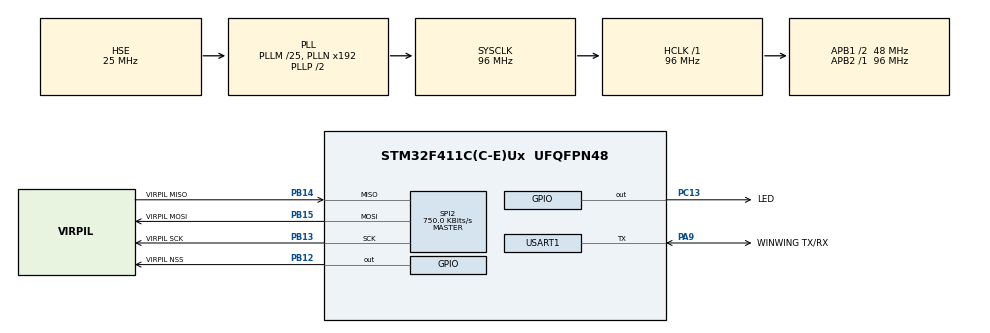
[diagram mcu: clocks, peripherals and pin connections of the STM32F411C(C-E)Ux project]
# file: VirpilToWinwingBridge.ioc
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Mcu.Family=STM32F4
Mcu.Name=STM32F411C(C-E)Ux
Mcu.Package=UFQFPN48
NVIC.PriorityGroup=NVIC_PRIORITYGROUP_4
NVIC.USART1_IRQn=true\:0\:0\:false\:false\:true\:true\:true\:true
PA13.Mode=Trace_Asynchronous_SW
PA13.Signal=SYS_JTMS-SWDIO
PA14.Mode=Trace_Asynchronous_SW
PA14.Signal=SYS_JTCK-SWCLK
PA9.GPIO_Label=WINWING TX/RX
PA9.GPIO_PuPd=GPIO_PULLUP
PA9.Mode=Half_duplex(single_wire_mode)
PA9.Signal=USART1_TX
PB12.GPIO_Label=VIRPIL NSS
PB12.GPIO_Speed=GPIO_SPEED_FREQ_VERY_HIGH
PB12.PinState=GPIO_PIN_SET
PB12.Signal=GPIO_Output
PB13.GPIO_Label=VIRPIL SCK
PB13.GPIO_PuPd=GPIO_NOPULL
PB13.GPIO_Speed=GPIO_SPEED_FREQ_VERY_HIGH
PB13.Mode=Full_Duplex_Master
PB13.Signal=SPI2_SCK
PB14.GPIO_Label=VIRPIL MISO
PB14.Mode=Full_Duplex_Master
PB14.Signal=SPI2_MISO
PB15.GPIO_Label=VIRPIL MOSI
PB15.Mode=Full_Duplex_Master
PB15.Signal=SPI2_MOSI
PB3.Mode=Trace_Asynchronous_SW
PB3.Signal=SYS_JTDO-SWO
PC13-ANTI_TAMP.GPIO_Label=LED
PC13-ANTI_TAMP.Signal=GPIO_Output
PH0\ -\ OSC_IN.Mode=HSE-External-Oscillator
PH0\ -\ OSC_IN.Signal=RCC_OSC_IN
PH1\ -\ OSC_OUT.Mode=HSE-External-Oscillator
PH1\ -\ OSC_OUT.Signal=RCC_OSC_OUT
ProjectManager.HeapSize=0x200
ProjectManager.StackSize=0x400
ProjectManager.TargetToolchain=STM32CubeIDE
RCC.48MHZClocksFreq_Value=48000000
RCC.AHBFreq_Value=96000000
RCC.APB1CLKDivider=RCC_HCLK_DIV2
RCC.APB1Freq_Value=48000000
RCC.APB1TimFreq_Value=96000000
RCC.APB2Freq_Value=96000000
RCC.APB2TimFreq_Value=96000000
RCC.CortexFreq_Value=96000000
RCC.HCLKFreq_Value=96000000
RCC.HSE_VALUE=25000000
RCC.HSI_VALUE=16000000
RCC.LSE_VALUE=32768
RCC.PLLM=25
RCC.PLLSourceVirtual=RCC_PLLSOURCE_HSE
RCC.SYSCLKFreq_VALUE=96000000
RCC.SYSCLKSource=RCC_SYSCLKSOURCE_PLLCLK
RCC.VCOOutputFreq_Value=192000000
SPI2.BaudRatePrescaler=SPI_BAUDRATEPRESCALER_64
SPI2.CLKPhase=SPI_PHASE_1EDGE
SPI2.CalculateBaudRate=750.0 KBits/s
SPI2.Direction=SPI_DIRECTION_2LINES
SPI2.Mode=SPI_MODE_MASTER
SPI2.VirtualType=VM_MASTER
TIM1.Period=65535
TIM1.Prescaler=96-1
USART1.BaudRate=230400
USART1.VirtualMode=VM_ASYNC
VP_TIM1_VS_ClockSourceINT.Mode=Internal
board=custom

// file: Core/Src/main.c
/* USER CODE BEGIN Header */
/**
 ******************************************************************************
 * @file           : main.c
 * @brief          : Main program body
 ******************************************************************************
 * @attention
 *
 * Copyright (c) 2025 STMicroelectronics.
 * All rights reserved.
 *
 * This software is licensed under terms that can be found in the LICENSE file
 * in the root directory of this software component.
 * If no LICENSE file comes with this software, it is provided AS-IS.
 *
 ******************************************************************************
 */
/* USER CODE END Header */
#include "main.h"

/* USER CODE BEGIN Includes */
#include <stdio.h>
#include <string.h>
/* USER CODE END Includes */

/* USER CODE BEGIN PTD */
typedef enum
{
	HAT_IDX_UP = 0,
	HAT_IDX_UR = 1,
	HAT_IDX_R = 2,
	HAT_IDX_DR = 3,
	HAT_IDX_D = 4,
	HAT_IDX_DL = 5,
	HAT_IDX_L = 6,
	HAT_IDX_UL = 7
} HatIndex;

/* USER CODE END PTD */

/* USER CODE BEGIN PD */
#define WINWING_MAX_PACKET_SIZE  8
#define VIRPIL_PACKET_SIZE	14
#define VIRPIL_TIMEOUT_MS 1000
#define CALIBRATION_CHECK_INTERVAL 500 //ms
#define DIAL_HANDLE_INTERVAL_MS 10 //ms
#define MIN_CALIBRATION_DURATION 5000 //ms
/* USER CODE END PD */

SPI_HandleTypeDef hspi2;

TIM_HandleTypeDef htim1;

UART_HandleTypeDef huart1;

/* USER CODE BEGIN PV */

// Calibration data structure
typedef struct {
    uint16_t MinThumbStickX;
    uint16_t MaxThumbStickX;
    uint16_t MinThumbStickY;
    uint16_t MaxThumbStickY;
    uint16_t MinTwistZ;
    uint16_t MaxTwistZ;
    uint16_t MinSlider;
    uint16_t MaxSlider;
    uint16_t SliderDetent1;
    uint16_t SliderDetent2;
    uint32_t crc32; // For data integrity
} CalibrationData;

// Flash storage address (last 16KB sector for STM32F411, 0x08060000)
#define CALIBRATION_FLASH_ADDR ((uint32_t)0x08060000)

CalibrationData calibData = {
    .MinThumbStickX = 10,
    .MaxThumbStickX = 4086,
    .MinThumbStickY = 10,
    .MaxThumbStickY = 4086,
    .MinTwistZ = 10,
    .MaxTwistZ = 4086,
    .MinSlider = 16,
    .MaxSlider = 4086,
	.SliderDetent1 = 1250,
	.SliderDetent2 = 3400,
    .crc32 = 0
};

uint16_t CurrThumbStickX = 2048,
        CurrThumbStickY = 2048,
        CurrTwistZ = 2048,
        CurrSlider = 2086;

//        PrevSlider = 0, PrevTwistZ = 0, PrevThumbStickX = 0, PrevThumbStickY = 0;

uint8_t PrevDialBits = 0;
uint8_t RedDown = 0;
uint8_t BlackDown = 0;
uint8_t DialDown = 0;
uint32_t lastBlink = 0;
uint32_t lastCheck = 0;
uint32_t blinkDelay = 0;
uint32_t DialHandleTime = 0;
uint8_t DialHandleTicks = 0;

typedef struct
{
	uint8_t ReqSize;
	uint8_t RespSize;
	uint8_t Data[WINWING_MAX_PACKET_SIZE];
} tCache;

uint8_t BS_Hat = 0, BS_Center = 0, BS_Side = 0, BS_Thumb = 0;

typedef struct
{
	const char *Name;
	uint8_t VP_Byte;
	uint8_t VP_Bit;
	uint8_t WW_Byte;
	uint8_t WW_Mask;
	uint8_t WW_Push;
	uint8_t *pBS;
	uint8_t *pButton;
} tButtonMap;

uint8_t VP_Buffer[VIRPIL_PACKET_SIZE] =
{ 0xFF };
uint8_t WW_Request[WINWING_MAX_PACKET_SIZE] =
{ 0 };
volatile uint16_t WWRequestLen = 0;

#define SERIAL_NO_1 0x7f
#define SERIAL_NO_2 0xdb
#define SERIAL_NO_3 0x0c
#define SERIAL_NO_4 0x26

#define WW_A0_INDEX 20
#define WW_THUMBX_INDEX 22
#define WW_THUMBY_INDEX 23
#define WW_ZAXIS_INDEX 24
#define WW_SLIDER_INDEX 25

tCache WW_Cache[] =
		{
// Ping pong?
				{ 1, 1,
				{ 0x00 } },

				// Serial and verisons
				{ 1, 5,
				{ 0x01, 0x0D, 0x01, 0x30, 0x51 } }, //HW ver in hex, sw ver in dec??
				{ 1, 5,
				{ 0x02, 0x07, 0xBE, 0x14, 0x01 } }, //SW ver in hex,
				{ 1, 7,
				{ 0x03, SERIAL_NO_4, SERIAL_NO_3, SERIAL_NO_2, SERIAL_NO_1,
						0x12, 0x30 } }, //serial parts

				{ 4, 8,
				{ 0x05, 0x00, 0x10, 0x01, 0x55, 0x55, 0x55, 0x55 } }, //EXTension enable?
				{ 4, 8,
				{ 0x05, 0x04, 0x00, 0x00, 0x01, 0x00, 0x00, 0x00 } }, //??
				{ 4, 8,
				{ 0x05, 0x91, 0x01, 0x01, 0x01, 0x00, 0x00, 0x00 } }, //ADD_ONFunction testUnqualified - triggers firmware update! when changed
				{ 4, 8,
				{ 0x05, 0x98, 0x01, 0x01, 0x01, 0x00, 0x00, 0x00 } }, //ADD_ONOnboard testUnqualified
				{ 4, 8,
				{ 0x05, 0x9c, 0x00, 0x00, SERIAL_NO_1, SERIAL_NO_2, SERIAL_NO_3,
				SERIAL_NO_4 } }, //serial part 1
				{ 4, 8,
				{ 0x05, 0xa0, 0x00, 0x00, 0x4E, 0x62, 0x30, 0x12 } }, //serial part 2
				{ 4, 8,
				{ 0x05, 0xa4, 0x00, 0x00, 0x4b, 0x64, 0x06, 0x25 } }, //serial part 3
				{ 4, 8,
				{ 0x05, 0xac, 0x01, 0x01, 0x01, 0x00, 0x00, 0x00 } },
				{ 4, 8,
				{ 0x05, 0xf0, 0x00, 0x01, 0xff, 0xff, 0xff, 0xff } },

//0x05 0xF8 0x00 0x01 //modify trigger pos??
//0x06 0xF8 0x00 0x01 //modify trigger pos??
//0x49 0x00 0x00-0xFF //Vibration intensity

				{ 4, 8,
				{ 0x05, 0x91, 0x01, 0x00, 0xFF, 0x01, 0xFF, 0xFF } },
				{ 4, 8,
				{ 0x05, 0xAC, 0x01, 0x00, 0x01, 0x00, 0x00, 0x00 } },
				{ 4, 8,
				{ 0x05, 0xA8, 0x01, 0x00, 0x00, 0x00, 0x00, 0x11 } },
				{ 4, 8,
				{ 0x05, 0xB8, 0x00, 0x00, 0xA3, 0x07, 0x00, 0x00 } },
				{ 4, 8,
				{ 0x05, 0x98, 0x01, 0x00, 0x01, 0x00, 0x00, 0x00 } },

				// No idea what these are
				{ 1, 0,
				{ 0xB0 } },
				{ 1, 2,
				{ 0x18, 0x00 } },

				// Digital buttons
				{ 1, 8,
				{ 0xA0, 0x00, 0x00, 0x00, 0x00, 0x00, 0x00, 0x00 } },
				{ 1, 8,
				{ 0xA1, 0x00, 0x00, 0x00, 0x00, 0x00, 0x00, 0x00 } },

				// Analog axes
				{ 2, 6,
				{ 0x46, 0x03, 0x00, 0x08, 0xFF, 0x0F } }, // thumb x
				{ 2, 6,
				{ 0x46, 0x04, 0x00, 0x08, 0xFF, 0x0F } }, // thumb y
				{ 2, 6,
				{ 0x46, 0x05, 0x00, 0x00, 0xFF, 0x0F } }, // z-axis
				{ 2, 6,
				{ 0x46, 0x06, 0x00, 0x00, 0xFF, 0x0F } }, // slider

				// Analog raw ???
				{ 2, 8,
				{ 0x45, 0x03, 0x7c, 0x08, 0x00, 0x00, 0x00, 0x00 } },
				{ 2, 8,
				{ 0x45, 0x04, 0xd2, 0x07, 0x00, 0x00, 0x00, 0x00 } },
				{ 2, 8,
				{ 0x45, 0x05, 0xbc, 0xaf, 0x01, 0x00, 0x00, 0x00 } },
				{ 2, 8,
				{ 0x45, 0x06, 0x86, 0x0e, 0x00, 0x00, 0x00, 0x00 } }, };

size_t cache_count = sizeof(WW_Cache) / sizeof(tCache);

/* USER CODE END PV */

void SystemClock_Config(void);
static void MX_GPIO_Init(void);
static void MX_SPI2_Init(void);
static void MX_USART1_UART_Init(void);
static void MX_TIM1_Init(void);

/* USER CODE BEGIN 0 */
void delay_us(uint16_t us)
{
	__HAL_TIM_SET_COUNTER(&htim1, 0);  // set the counter value a 0
	while (__HAL_TIM_GET_COUNTER(&htim1) < us)
		;  // wait for the counter to reach the us input in the parameter
}

int _write(int file, char *ptr, int len)
{
#ifdef DEBUG
	int DataIdx;
	for (DataIdx = 0; DataIdx < len; DataIdx++)
		ITM_SendChar(*ptr++);
#endif //DEBUG
	return len;
}

static inline void printHexFrame(const char *prefix, const uint8_t *b, size_t n)
{
	printf("%s", prefix);
	for (size_t i = 0; i < n; i++)
	{
		printf(" 0x%02X", b[i]);
	}
	printf("\n");
}

static inline void printBinByte(const uint8_t *b, size_t n)
{
	printf(" ");
	for (size_t i = 0; i < n; i++)
	{
		for (int j = 7; j >= 0; j--)
		{
			printf("%d", (b[i] >> j) & 0x01);
		}
	}
}
//#define DEBUG_VIRPIL

#ifdef DEBUG_VIRPIL
#ifdef DEBUG
uint8_t prev_VP_Button_Buffer[14] = {0};
//uint8_t virpil_byte = 0xff;
#endif //DEBUG
#endif //DEBUG_VIRPIL

uint32_t LastInvalidVirpilFrameTime = 0;

static uint8_t readVirpilDataSync()
{
	uint8_t ret = 1;
	static const uint8_t DUMMY = 0xFF;
	HAL_GPIO_WritePin(VIRPIL_NSS_GPIO_Port, VIRPIL_NSS_Pin, GPIO_PIN_RESET);
	delay_us(10);
//	ret = HAL_SPI_Receive(&hspi2, VP_Buffer, VIRPIL_PACKET_SIZE, 100);
	for (uint16_t i = 0; i < VIRPIL_PACKET_SIZE; i++)
	{
		HAL_SPI_TransmitReceive(&hspi2, (uint8_t*) &DUMMY, &VP_Buffer[i], 1, 2);
		delay_us(10);
	}
	delay_us(10);
	HAL_GPIO_WritePin(VIRPIL_NSS_GPIO_Port, VIRPIL_NSS_Pin, GPIO_PIN_SET);

	if (VP_Buffer[0] == 0 || VP_Buffer[1] == 0 || VP_Buffer[2] == 0 || VP_Buffer[3] == 0 || VP_Buffer[13] != 0)
	{
		if (LastInvalidVirpilFrameTime == 0)
		{
			printf("Invalid Virpil frame received, pause processing.\n");
			printHexFrame("[VIRPIL INVALID]", VP_Buffer, VIRPIL_PACKET_SIZE);
		}
		LastInvalidVirpilFrameTime = HAL_GetTick();
		blinkDelay = 50;
		ret = 0;
	}
	else if (LastInvalidVirpilFrameTime != 0)
	{
		if (HAL_GetTick() - LastInvalidVirpilFrameTime > VIRPIL_TIMEOUT_MS)
		{
			printf("Valid Virpil frame received, resuming.\n");
			LastInvalidVirpilFrameTime = 0;
			blinkDelay = 0;
			HAL_GPIO_WritePin(LED_GPIO_Port, LED_Pin, SET);
		}
		else
			ret = 0;
	}

	//printHexFrame("[VIRPIL]", VP_Buffer, VIRPIL_PACKET_SIZE);
#ifdef DEBUG_VIRPIL
#ifdef DEBUG
	if (memcmp(prev_VP_Button_Buffer, VP_Buffer, sizeof(prev_VP_Button_Buffer)) != 0)
	{
		memcpy(prev_VP_Button_Buffer, VP_Buffer, sizeof(prev_VP_Button_Buffer));
		printHexFrame("[VIRPIL BB]", prev_VP_Button_Buffer, sizeof(prev_VP_Button_Buffer));
//		printf("[VIRPIL Slider] 0x%02X 0x%02X" , VP_Buffer[5], VP_Buffer[4]);
//		printBinByte(&VP_Buffer[5], 1);
//		printBinByte(&VP_Buffer[4], 1);
//		printf("\n");
		//if (virpil_byte != VP_Buffer[3])
		//{
		//	virpil_byte = VP_Buffer[3];
		//	printf("VP3=0x%02X\n", virpil_byte);
		//}
	}
#endif //DEBUG
#endif //DEBUG_VIRPIL
	return ret;
}

tButtonMap ButtonMap[] =
{
{ "Trigger Second Detent", 0, 3, 3, 0x10 },
{ "Trigger First Detent", 0, 2, 3, 0x08 },
{ "Trigger Guard Active", 0, 1, 3, 0x01 },

{ "Black Button Press", 0, 5, 7, 0x08, 0, 0, &BlackDown },
{ "Red Button Press", 1, 3, 5, 0x08, 0, 0, &RedDown },
{ "Pinky Button Press", 3, 5, 3, 0x20 },

//	{"Hat Up"   , 1, 5, 1, 0x00, 0, 0},
//	{"Hat Right", 1, 6, 1, 0x02, 0, 0},
//	{"Hat Down" , 1, 7, 1, 0x04, 0, 0},
//	{"Hat Left" , 2, 0, 1, 0x06, 0, 0},
		{ "Hat Press", 1, 4, 5, 0x04, 1, &BS_Hat },

		{ "Thumbstick Press", 0, 4, 6, 0x02 },

		{ "Dial Press", 2, 4, 5, 0x10, 0, 0, &DialDown },

		{ "Center Up", 0, 7, 6, 0x80, 0, &BS_Center },
		{ "Center Down", 1, 1, 7, 0x02, 0, &BS_Center },
		{ "Center Left", 1, 2, 7, 0x04, 0, &BS_Center },
		{ "Center Right", 1, 0, 7, 0x01, 0, &BS_Center },
		{ "Center Press", 0, 6, 6, 0x40, 1, &BS_Center },

		{ "Thumb Fwd", 3, 1, 4, 0x10, 0, &BS_Thumb },
		{ "Thumb Back", 3, 3, 4, 0x04, 0, &BS_Thumb },
		{ "Thumb Left", 3, 4, 4, 0x02, 0, &BS_Thumb },
		{ "Thumb Right", 3, 2, 4, 0x08, 0, &BS_Thumb },
		{ "Thumb Press", 3, 0, 4, 0x01, 1, &BS_Thumb },

		{ "Side Fwd", 2, 2, 4, 0x40, 0, &BS_Side },
		{ "Side Back", 2, 3, 5, 0x01, 0, &BS_Side },
		{ "Side Press", 2, 1, 4, 0x20, 1, &BS_Side } };

size_t ButtonCount = sizeof(ButtonMap) / sizeof(tButtonMap);

#define VP_ISSET(a,b) ((VP_Buffer[a] >> b) & 0x01) == 0
#define WW_SET(a,b) WW_Cache[WW_A0_INDEX].Data[a] |= b
#define WW_RESET(a,b) WW_Cache[WW_A0_INDEX].Data[a] &= ~b

uint32_t CalibrationEnterTime = 0;
uint8_t CalibrationJustEntered = 0;
uint8_t CalibrationActive = 0;

static inline uint8_t ww_hat_code_from_index(int idx)
{
	if (idx < 0)
		return 0x0F;               // neutral
	// high nibble: one (or two) cardinal bits based on idx
	uint8_t hi = 0;
	if (idx == 0 || idx == 1 || idx == 7)
		hi |= 0x10; // Up
	if (idx == 1 || idx == 2 || idx == 3)
		hi |= 0x20; // Right
	if (idx == 3 || idx == 4 || idx == 5)
		hi |= 0x40; // Down
	if (idx == 5 || idx == 6 || idx == 7)
		hi |= 0x80; // Left
	return (uint8_t) (hi | (idx & 0x0F));
}

static inline uint8_t ww_hat_code_from_bools(int up, int right, int down,
		int left)
{
	// cancel opposites (if both pressed, treat as neither)
	int v = (up && !down) ? 1 : (down && !up) ? -1 : 0;
	int h = (right && !left) ? 1 : (left && !right) ? -1 : 0;

	int idx = -1; // neutral by default
	if (v == 0 && h == 0)
		idx = -1;
	else if (v > 0 && h == 0)
		idx = HAT_IDX_UP;
	else if (v > 0 && h > 0)
		idx = HAT_IDX_UR;
	else if (v == 0 && h > 0)
		idx = HAT_IDX_R;
	else if (v < 0 && h > 0)
		idx = HAT_IDX_DR;
	else if (v < 0 && h == 0)
		idx = HAT_IDX_D;
	else if (v < 0 && h < 0)
		idx = HAT_IDX_DL;
	else if (v == 0 && h < 0)
		idx = HAT_IDX_L;
	else if (v > 0 && h < 0)
		idx = HAT_IDX_UL;

	return ww_hat_code_from_index(idx);
}

static inline void ww_write_hat(uint8_t code)
{
	WW_Cache[WW_A0_INDEX].Data[1] = code;   // POV code
	WW_Cache[WW_A0_INDEX].Data[2] = 0x00;   // per your captures
	WW_Cache[WW_A0_INDEX].Data[3] = 0x42;   // constant in your captures
}

static inline uint16_t map_vp_to_ww(uint16_t cur, uint16_t minv, uint16_t maxv)
{
	if (minv == maxv)
		return 0;                 // avoid /0; treat as 0
	if (minv > maxv)
	{
		uint16_t t = minv;
		minv = maxv;
		maxv = t;
	} // handle reversed cal

	// clamp
	if (cur <= minv)
		return 0;
	if (cur >= maxv)
		return 0x0FFF;

	// round-to-nearest: ((cur-min)/(span)) * 4095
	const uint32_t span = (uint32_t) maxv - (uint32_t) minv;
	const uint32_t num = ((uint32_t) cur - (uint32_t) minv) * 0x0FFFu
			+ (span >> 1);
	return (uint16_t) (num / span);
}

int8_t DialDirection = 0;
static const int8_t DialDirections[16] =
{
/* prev<<2 | curr: 00,01,10,11 */
/* 00-> */0, +1, -1, 0,
/* 01-> */-1, 0, 0, +1,
/* 10-> */+1, 0, 0, -1,
/* 11-> */0, -1, +1, 0 };

void updateWWCache(void)
{
	// 2) Reset group counters each frame
	BS_Hat = BS_Center = BS_Side = BS_Thumb = 0;

	//process Hat first. hat is different from buttons

	int vp_up = VP_ISSET(1, 5);
	int vp_down = VP_ISSET(1, 7);
	int vp_left = VP_ISSET(2, 0);
	int vp_right = VP_ISSET(1, 6);

	uint8_t hatCode = ww_hat_code_from_bools(vp_up, vp_right, vp_down, vp_left);
	ww_write_hat(hatCode);

	if (vp_up || vp_down || vp_left || vp_right)
		BS_Hat = 1;

	// 3) First pass: compute group occupancy (boolean)
	for (size_t i = 0; i < ButtonCount; i++)
	{
		tButtonMap *m = &ButtonMap[i];
		if (m->pButton)
			*(m->pButton) = 0;
		if (!m->pBS)
			continue;
		if (m->WW_Push)
			continue;                 // only non-push members contribute
		if (VP_ISSET(m->VP_Byte, m->VP_Bit))
		{
			*m->pBS = 1;                   // boolean “someone in group is held”
		}
	}

	// 4) Second pass: write WW cache
	for (size_t i = 0; i < ButtonCount; i++)
	{
		tButtonMap *m = &ButtonMap[i];
		const uint8_t mask = m->WW_Mask;

		if (!m->WW_Push)
		{
			if (VP_ISSET(m->VP_Byte, m->VP_Bit))
			{
				WW_SET(m->WW_Byte, mask);
				if (m->pButton)
					*(m->pButton) = 1;
			}
			else
			{
				WW_RESET(m->WW_Byte, mask);
			}
		}
		else
		{
			// Push in same group is falsely reported as pressed by Virpil when any dir is held.
			// Suppress push if any other in group is down.
			if (VP_ISSET(m->VP_Byte, m->VP_Bit) && m->pBS && *m->pBS == 0)
			{
				WW_SET(m->WW_Byte, mask);
				if (m->pButton)
					*(m->pButton) = 1;
			}
			else
			{
				WW_RESET(m->WW_Byte, mask);
			}
		}
	}

	WW_RESET(3, 0x02); //get rid of z-axis detetn buttons

	uint8_t CurrDialBits = (VP_Buffer[2] >> 6) & 0x03;
	int8_t dir = DialDirections[(PrevDialBits << 2) | CurrDialBits];
	PrevDialBits = CurrDialBits;

	DialDirection += dir;

	//analog axes
	//sometimes MSB byte get corrupted and is copied from previous byte. in cese both are equal, juıst skip updating that axis

	//if (VP_Buffer[8] != VP_Buffer[7] && VP_Buffer[6] != VP_Buffer[5])
		CurrSlider = VP_Buffer[6] + ((VP_Buffer[8] & 0x3F) << 8);
	//if (VP_Buffer[5] != VP_Buffer[4] && VP_Buffer[4] != VP_Buffer[3])
		CurrTwistZ = VP_Buffer[4] + ((VP_Buffer[5] & 0x3F) << 8);
	//if (VP_Buffer[12] != VP_Buffer[11]) {
		CurrThumbStickX = ((uint16_t) (((VP_Buffer[12] >> 2) & 0x03) << 8) | VP_Buffer[11]);
		CurrThumbStickY = ((uint16_t) ((VP_Buffer[12] & 0x03) << 8) | VP_Buffer[10]);
	//}

//#ifdef DEBUG
//#define LARGE_DIFF(a,b) ((((a)>(b))?((a)-(b)):((b)-(a)))>5)
//	if (LARGE_DIFF(CurrSlider,PrevSlider) || LARGE_DIFF(CurrTwistZ, PrevTwistZ) || LARGE_DIFF(CurrThumbStickX, PrevThumbStickX) || LARGE_DIFF(CurrThumbStickY, PrevThumbStickY))
//	{
//		printf("Slider=%d (0x%02X 0x%02X) - TwistZ=%d (0x%02X 0x%02X) - ThumbX=%d (0x%02X 0x%02X) - ThumbY=%d (0x%02X 0x%02X) ",
//				CurrSlider, VP_Buffer[8], VP_Buffer[6],
//				CurrTwistZ, VP_Buffer[5], VP_Buffer[4],
//				CurrThumbStickX, VP_Buffer[12], VP_Buffer[11],
//				CurrThumbStickY, VP_Buffer[12], VP_Buffer[10]
//				);
//		printHexFrame("[RAW] ", VP_Buffer, sizeof(VP_Buffer));
//	}
//	PrevSlider = CurrSlider;
//	PrevTwistZ = CurrTwistZ;
//	PrevThumbStickX = CurrThumbStickX;
//	PrevThumbStickY = CurrThumbStickY;
//#endif //DEBUG

#define SET_MIN_MAX(a,b,c,d) if (b > calibData.c) {calibData.c = b; printf("%s max = %d\n", a, b);} else if (b < calibData.d) {calibData.d = b; printf("%s min = %d\n", a, b);}

	if (CalibrationActive)
	{
		SET_MIN_MAX("Slider", CurrSlider, MaxSlider, MinSlider);
		SET_MIN_MAX("TwistZ", CurrTwistZ, MaxTwistZ, MinTwistZ);
		SET_MIN_MAX("ThumbStickX", CurrThumbStickX, MaxThumbStickX, MinThumbStickX);
		SET_MIN_MAX("ThumbStickY", CurrThumbStickY, MaxThumbStickY, MinThumbStickY);
		if (RedDown)
			calibData.SliderDetent1 = CurrSlider;
		if (BlackDown)
			calibData.SliderDetent2 = CurrSlider;
	}
	else
	{

#define WW_WRITE_AXIS(a,b,c) WW_Cache[a].Data[b] = c & 0xff; WW_Cache[a].Data[b+1] = (c >> 8) & 0xff

		uint16_t val = 4096 - map_vp_to_ww(CurrSlider, calibData.MinSlider, calibData.MaxSlider);
		WW_WRITE_AXIS(WW_SLIDER_INDEX, 2, val);
		WW_WRITE_AXIS(WW_SLIDER_INDEX+4, 2, CurrSlider);

		WW_RESET(3, 0xC0);
		if (val > 3400) //trigger secont pinky detent
			WW_SET(3, 0xC0);
		else if (val > 1250)
			WW_SET(3, 0x40);

		val = 4096 - map_vp_to_ww(CurrTwistZ, calibData.MinTwistZ, calibData.MaxTwistZ);
		WW_WRITE_AXIS(WW_ZAXIS_INDEX, 2, val);
		WW_WRITE_AXIS(WW_ZAXIS_INDEX+4, 2, CurrTwistZ);

		val = 4096 - map_vp_to_ww(CurrThumbStickX, calibData.MinThumbStickX, calibData.MaxThumbStickX);
		WW_WRITE_AXIS(WW_THUMBX_INDEX, 2, val);
		WW_WRITE_AXIS(WW_THUMBX_INDEX+4, 2, CurrThumbStickX);

		val = 4096 - map_vp_to_ww(CurrThumbStickY, calibData.MinThumbStickY, calibData.MaxThumbStickY);
		WW_WRITE_AXIS(WW_THUMBY_INDEX, 2, val);
		WW_WRITE_AXIS(WW_THUMBY_INDEX+4, 2, CurrThumbStickY);
	}

}

void writeWinwingDataSync(const uint8_t *data, uint16_t size)
{
	//printHexFrame("[TO WW]", data, size);
	// Enable TX (Half-Duplex Mode)
	HAL_HalfDuplex_EnableTransmitter(&huart1);
	// Send The Data You Want!
	HAL_UART_Transmit(&huart1, data, size, 100);
	// Switch Back To RX (Receiver Mode)
	HAL_HalfDuplex_EnableReceiver(&huart1);
}

static void HandleDial()
{
	//handle dial action here
	if (HAL_GetTick() - DialHandleTime < DIAL_HANDLE_INTERVAL_MS)
		return;
	DialHandleTime = HAL_GetTick();
	WW_RESET(5, 0xA0);
	if (DialHandleTicks % 2)
	{
		if (DialDirection > 0)
		{
			WW_SET(5, 0x20);
			DialDirection--;
			printf("UP %d\n", DialDirection);
		}
		else if (DialDirection < 0)
		{
			WW_SET(5, 0x80);
			DialDirection++;
			printf("DOWN %d\n", DialDirection);
		}
	}
	DialHandleTicks++;
}

static void WW_HandleData()
{
	tCache *pCache;
	for (int i = 0; i < cache_count; i++)
	{
		pCache = &WW_Cache[i];
		if (WWRequestLen == pCache->ReqSize && pCache->RespSize > 0
				&& memcmp(WW_Request, pCache->Data, pCache->ReqSize) == 0)
		{
			//printHexFrame("[FROM WW]", WW_Request, WWRequestLen);
			writeWinwingDataSync(pCache->Data, pCache->RespSize);
			return;
		}
	}
	printHexFrame("[FROM WW - UNHANDLED]", WW_Request, WWRequestLen);
	writeWinwingDataSync(WW_Request, WWRequestLen);
}

// Helper: Calculate CRC32 (simple implementation, replace with HAL if available)
uint32_t crc32_calc(const uint8_t *data, size_t len) {
    uint32_t crc = 0xFFFFFFFF;
    for (size_t i = 0; i < len; i++) {
        crc ^= data[i];
        for (uint8_t j = 0; j < 8; j++) {
            if (crc & 1)
                crc = (crc >> 1) ^ 0xEDB88320;
            else
                crc >>= 1;
        }
    }
    return ~crc;
}

// Save calibration data to flash
void SaveCalibrationToFlash(void) {
    HAL_FLASH_Unlock();
    // Erase sector
    FLASH_EraseInitTypeDef eraseInitStruct = {0};
    uint32_t sectorError = 0;
    eraseInitStruct.TypeErase = FLASH_TYPEERASE_SECTORS;
    eraseInitStruct.Sector = FLASH_SECTOR_7;
    eraseInitStruct.NbSectors = 1;
    eraseInitStruct.VoltageRange = FLASH_VOLTAGE_RANGE_3;
    HAL_FLASHEx_Erase(&eraseInitStruct, &sectorError);
    // Calculate CRC
    calibData.crc32 = crc32_calc((uint8_t*)&calibData, sizeof(CalibrationData) - sizeof(uint32_t));
    // Program data
    uint32_t *src = (uint32_t*)&calibData;
    uint32_t addr = CALIBRATION_FLASH_ADDR;
    for (size_t i = 0; i < sizeof(CalibrationData)/4; i++) {
        HAL_FLASH_Program(FLASH_TYPEPROGRAM_WORD, addr, src[i]);
        addr += 4;
    }
    HAL_FLASH_Lock();
}

// Load calibration data from flash
void LoadCalibrationFromFlash(void) {
    CalibrationData *flashData = (CalibrationData*)CALIBRATION_FLASH_ADDR;
    uint32_t crc = crc32_calc((uint8_t*)flashData, sizeof(CalibrationData) - sizeof(uint32_t));
    if (flashData->crc32 == crc) {
        calibData = *flashData;
    }
    // else keep defaults
}
/* USER CODE END 0 */

int main(void)
{

  /* USER CODE BEGIN 1 */
	setvbuf(stdout, NULL, _IONBF, 0);
  /* USER CODE END 1 */

  /* MCU Configuration--------------------------------------------------------*/

  /* Reset of all peripherals, Initializes the Flash interface and the Systick. */
  HAL_Init();

  /* Configure the system clock */
  SystemClock_Config();

  /* USER CODE BEGIN SysInit */
	LoadCalibrationFromFlash();
  /* USER CODE END SysInit */

  /* Initialize all configured peripherals */
  MX_GPIO_Init();
  MX_SPI2_Init();
  MX_USART1_UART_Init();
  MX_TIM1_Init();
  /* USER CODE BEGIN 2 */
	HAL_TIM_Base_Start(&htim1);
  /* USER CODE END 2 */

  /* Infinite loop */
  /* USER CODE BEGIN WHILE */

	HAL_HalfDuplex_EnableReceiver(&huart1);
	HAL_UARTEx_ReceiveToIdle_IT(&huart1, WW_Request, WINWING_MAX_PACKET_SIZE);
	HAL_GPIO_WritePin(LED_GPIO_Port, LED_Pin, SET);
	printf("Virpil Grip to WinWing Base Bridge\n");

	while (1)
	{
		uint32_t now = HAL_GetTick();
		uint8_t virpilOK = readVirpilDataSync();

    /* USER CODE END WHILE */

    /* USER CODE BEGIN 3 */
		if (blinkDelay && (now - lastBlink > blinkDelay))
		{
			lastBlink = now;
			HAL_GPIO_TogglePin(LED_GPIO_Port, LED_Pin);
		}

		if (virpilOK && (now - lastCheck >= CALIBRATION_CHECK_INTERVAL))
		{
			lastCheck = now;
			if (CalibrationActive)
			{
				if (now - CalibrationEnterTime >= MIN_CALIBRATION_DURATION) //allow exit at least 5 seconds afrter enter
				{
					// Exit calibration if any of the 3 buttons is pressed
					if (DialDown)
					{
						CalibrationActive = 0;
						blinkDelay = 0;
						HAL_GPIO_WritePin(LED_GPIO_Port, LED_Pin, SET);
						printf("Exit calibration mode\n"
								"\tMinThumbStickX=%d\n"
								"\tMaxThumbStickX=%d\n"
								"\tMinThumbStickY=%d\n"
								"\tMaxThumbStickY=%d\n"
								"\tMinTwistZ=%d\n"
								"\tMaxTwistZ=%d\n"
								"\tMinSlider=%d\n"
								"\tMaxSlider=%d\n"
								"\tSliderDetent1=%d\n"
								"\tSliderDetent2=%d\n",
								calibData.MinThumbStickX, calibData.MaxThumbStickX,
								calibData.MinThumbStickY, calibData.MaxThumbStickY,
								calibData.MinTwistZ, calibData.MaxTwistZ,
								calibData.MinSlider, calibData.MaxSlider,
								calibData.SliderDetent1, calibData.SliderDetent2
								);

						SaveCalibrationToFlash(); // save values
					}
				}
			}
			else
			{
				// Wait for combo to be held for 2 seconds
				if (RedDown && BlackDown && DialDown)
				{
					if (CalibrationEnterTime == 0)
					{
						printf("Pre-calibration enter.\n");
						CalibrationEnterTime = now;
						blinkDelay = 0;
						HAL_GPIO_WritePin(LED_GPIO_Port, LED_Pin, RESET);
					}
					else if (now - CalibrationEnterTime >= 2000)
					{
						CalibrationActive = 1;
						CalibrationEnterTime = now;
						blinkDelay = 200;
						HAL_GPIO_WritePin(LED_GPIO_Port, LED_Pin, RESET);
						printf("Enter calibration mode.\n"
							"\tMinThumbStickX=%d\n"
							"\tMaxThumbStickX=%d\n"
							"\tMinThumbStickY=%d\n"
							"\tMaxThumbStickY=%d\n"
							"\tMinTwistZ=%d\n"
							"\tMaxTwistZ=%d\n"
							"\tMinSlider=%d\n"
							"\tMaxSlider=%d\n"
							"\tSliderDetent1=%d\n"
							"\tSliderDetent2=%d\n",
							calibData.MinThumbStickX, calibData.MaxThumbStickX,
							calibData.MinThumbStickY, calibData.MaxThumbStickY,
							calibData.MinTwistZ, calibData.MaxTwistZ,
							calibData.MinSlider, calibData.MaxSlider,
							calibData.SliderDetent1, calibData.SliderDetent2
							);

						calibData.MinThumbStickX = 0xffff;
						calibData.MaxThumbStickX = 0;
						calibData.MinThumbStickY = 0xffff;
						calibData.MaxThumbStickY = 0;
						calibData.MinTwistZ = 0xffff;
						calibData.MaxTwistZ = 0;
						calibData.MinSlider = 0xffff;
						calibData.MaxSlider = 0;
						//calibData.SliderDetent1 = 0;
						//calibData.SliderDetent2 = 0;
					}
				}
				else if (CalibrationEnterTime)
				{
					printf("Pre-calibration exit.\n");
					CalibrationEnterTime = 0;
					CalibrationJustEntered = 0;
					blinkDelay = 0;
					HAL_GPIO_WritePin(LED_GPIO_Port, LED_Pin, RESET);
				}
			}
		}

		if (virpilOK)
			updateWWCache(); //update WW cache with virpil data

		if (WWRequestLen > 0)
		{
			HandleDial();
			WW_HandleData();
			WWRequestLen = 0;
			HAL_UARTEx_ReceiveToIdle_IT(&huart1, WW_Request, WINWING_MAX_PACKET_SIZE);
		}
//		else
		delay_us(400);
	}
  /* USER CODE END 3 */
}

void SystemClock_Config(void)
{
  RCC_OscInitTypeDef RCC_OscInitStruct = {0};
  RCC_ClkInitTypeDef RCC_ClkInitStruct = {0};

  /** Configure the main internal regulator output voltage
  */
  __HAL_RCC_PWR_CLK_ENABLE();
  __HAL_PWR_VOLTAGESCALING_CONFIG(PWR_REGULATOR_VOLTAGE_SCALE1);

  /** Initializes the RCC Oscillators according to the specified parameters
  * in the RCC_OscInitTypeDef structure.
  */
  RCC_OscInitStruct.OscillatorType = RCC_OSCILLATORTYPE_HSE;
  RCC_OscInitStruct.HSEState = RCC_HSE_ON;
  RCC_OscInitStruct.PLL.PLLState = RCC_PLL_ON;
  RCC_OscInitStruct.PLL.PLLSource = RCC_PLLSOURCE_HSE;
  RCC_OscInitStruct.PLL.PLLM = 25;
  RCC_OscInitStruct.PLL.PLLN = 192;
  RCC_OscInitStruct.PLL.PLLP = RCC_PLLP_DIV2;
  RCC_OscInitStruct.PLL.PLLQ = 4;
  if (HAL_RCC_OscConfig(&RCC_OscInitStruct) != HAL_OK)
  {
    Error_Handler();
  }

  /** Initializes the CPU, AHB and APB buses clocks
  */
  RCC_ClkInitStruct.ClockType = RCC_CLOCKTYPE_HCLK|RCC_CLOCKTYPE_SYSCLK
                              |RCC_CLOCKTYPE_PCLK1|RCC_CLOCKTYPE_PCLK2;
  RCC_ClkInitStruct.SYSCLKSource = RCC_SYSCLKSOURCE_PLLCLK;
  RCC_ClkInitStruct.AHBCLKDivider = RCC_SYSCLK_DIV1;
  RCC_ClkInitStruct.APB1CLKDivider = RCC_HCLK_DIV2;
  RCC_ClkInitStruct.APB2CLKDivider = RCC_HCLK_DIV1;

  if (HAL_RCC_ClockConfig(&RCC_ClkInitStruct, FLASH_LATENCY_3) != HAL_OK)
  {
    Error_Handler();
  }
}

static void MX_SPI2_Init(void)
{

  /* SPI2 parameter configuration*/
  hspi2.Instance = SPI2;
  hspi2.Init.Mode = SPI_MODE_MASTER;
  hspi2.Init.Direction = SPI_DIRECTION_2LINES;
  hspi2.Init.DataSize = SPI_DATASIZE_8BIT;
  hspi2.Init.CLKPolarity = SPI_POLARITY_LOW;
  hspi2.Init.CLKPhase = SPI_PHASE_1EDGE;
  hspi2.Init.NSS = SPI_NSS_SOFT;
  hspi2.Init.BaudRatePrescaler = SPI_BAUDRATEPRESCALER_64;
  hspi2.Init.FirstBit = SPI_FIRSTBIT_MSB;
  hspi2.Init.TIMode = SPI_TIMODE_DISABLE;
  hspi2.Init.CRCCalculation = SPI_CRCCALCULATION_DISABLE;
  hspi2.Init.CRCPolynomial = 10;
  if (HAL_SPI_Init(&hspi2) != HAL_OK)
  {
    Error_Handler();
  }

}

static void MX_TIM1_Init(void)
{

  TIM_ClockConfigTypeDef sClockSourceConfig = {0};
  TIM_MasterConfigTypeDef sMasterConfig = {0};

  htim1.Instance = TIM1;
  htim1.Init.Prescaler = 96-1;
  htim1.Init.CounterMode = TIM_COUNTERMODE_UP;
  htim1.Init.Period = 65535;
  htim1.Init.ClockDivision = TIM_CLOCKDIVISION_DIV1;
  htim1.Init.RepetitionCounter = 0;
  htim1.Init.AutoReloadPreload = TIM_AUTORELOAD_PRELOAD_DISABLE;
  if (HAL_TIM_Base_Init(&htim1) != HAL_OK)
  {
    Error_Handler();
  }
  sClockSourceConfig.ClockSource = TIM_CLOCKSOURCE_INTERNAL;
  if (HAL_TIM_ConfigClockSource(&htim1, &sClockSourceConfig) != HAL_OK)
  {
    Error_Handler();
  }
  sMasterConfig.MasterOutputTrigger = TIM_TRGO_RESET;
  sMasterConfig.MasterSlaveMode = TIM_MASTERSLAVEMODE_DISABLE;
  if (HAL_TIMEx_MasterConfigSynchronization(&htim1, &sMasterConfig) != HAL_OK)
  {
    Error_Handler();
  }

}

static void MX_USART1_UART_Init(void)
{

  huart1.Instance = USART1;
  huart1.Init.BaudRate = 230400;
  huart1.Init.WordLength = UART_WORDLENGTH_8B;
  huart1.Init.StopBits = UART_STOPBITS_1;
  huart1.Init.Parity = UART_PARITY_NONE;
  huart1.Init.Mode = UART_MODE_TX_RX;
  huart1.Init.HwFlowCtl = UART_HWCONTROL_NONE;
  huart1.Init.OverSampling = UART_OVERSAMPLING_16;
  if (HAL_HalfDuplex_Init(&huart1) != HAL_OK)
  {
    Error_Handler();
  }

}

static void MX_GPIO_Init(void)
{
  GPIO_InitTypeDef GPIO_InitStruct = {0};

  /* GPIO Ports Clock Enable */
  __HAL_RCC_GPIOC_CLK_ENABLE();
  __HAL_RCC_GPIOH_CLK_ENABLE();
  __HAL_RCC_GPIOB_CLK_ENABLE();
  __HAL_RCC_GPIOA_CLK_ENABLE();

  /*Configure GPIO pin Output Level */
  HAL_GPIO_WritePin(LED_GPIO_Port, LED_Pin, GPIO_PIN_RESET);

  /*Configure GPIO pin Output Level */
  HAL_GPIO_WritePin(VIRPIL_NSS_GPIO_Port, VIRPIL_NSS_Pin, GPIO_PIN_SET);

  /*Configure GPIO pin : LED_Pin */
  GPIO_InitStruct.Pin = LED_Pin;
  GPIO_InitStruct.Mode = GPIO_MODE_OUTPUT_PP;
  GPIO_InitStruct.Pull = GPIO_NOPULL;
  GPIO_InitStruct.Speed = GPIO_SPEED_FREQ_LOW;
  HAL_GPIO_Init(LED_GPIO_Port, &GPIO_InitStruct);

  /*Configure GPIO pin : VIRPIL_NSS_Pin */
  GPIO_InitStruct.Pin = VIRPIL_NSS_Pin;
  GPIO_InitStruct.Mode = GPIO_MODE_OUTPUT_PP;
  GPIO_InitStruct.Pull = GPIO_NOPULL;
  GPIO_InitStruct.Speed = GPIO_SPEED_FREQ_VERY_HIGH;
  HAL_GPIO_Init(VIRPIL_NSS_GPIO_Port, &GPIO_InitStruct);

}

/* USER CODE BEGIN 4 */

void HAL_UARTEx_RxEventCallback(UART_HandleTypeDef *huart, uint16_t size)
{
	WWRequestLen = size;
}

/* USER CODE END 4 */

void Error_Handler(void)
{
  /* USER CODE BEGIN Error_Handler_Debug */
	/* User can add his own implementation to report the HAL error return state */
	__disable_irq();
	while (1)
	{
		HAL_GPIO_TogglePin(LED_GPIO_Port, LED_Pin);
		HAL_Delay(100);
	}
  /* USER CODE END Error_Handler_Debug */
}
